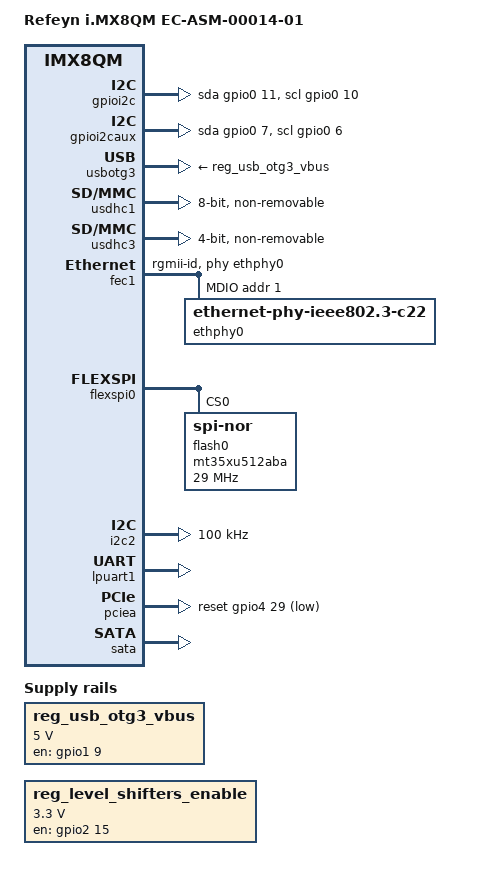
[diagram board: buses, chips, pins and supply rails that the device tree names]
// SPDX-License-Identifier: GPL-2.0+
/*
 * Copyright 2017-2018 NXP
 */

/dts-v1/;

#include "fsl-imx8qm.dtsi"

/ {
	model = "Refeyn i.MX8QM EC-ASM-00014-01";
	compatible = "fsl,imx8qm-ec-asm-00014-01", "fsl,imx8qm";

	chosen {
		bootargs = "console=ttyLP1,115200 earlycon";
		stdout-path = &lpuart1;
	};

	regulators {
		compatible = "simple-bus";
		#address-cells = <1>;
		#size-cells = <0>;

		reg_usb_otg3_vbus: regulator@1 {
			compatible = "regulator-fixed";
			reg = <1>;
			regulator-name = "usb_otg3_vbus";
			regulator-min-microvolt = <5000000>;
			regulator-max-microvolt = <5000000>;
			gpio = <&gpio1 9 GPIO_ACTIVE_HIGH>;
			enable-active-high;
		};

		reg_level_shifters_enable: regulator@2 {
			compatible = "regulator-fixed";
			reg = <2>;
			regulator-name = "reg_level_shifters_enable";
			regulator-min-microvolt = <3300000>;
			regulator-max-microvolt = <3300000>;
			gpio = <&gpio2 15 GPIO_ACTIVE_HIGH>;
			enable-active-high;
			regulator-always-on;
		};
	};

	gpioi2c: i2c-gpio@debug2-3 {
		compatible = "i2c-gpio";
		#address-cells = <1>;
		#size-cells = <0>;
		sda-gpios = <&gpio0 11 (GPIO_ACTIVE_HIGH | GPIO_OPEN_DRAIN)>;
		scl-gpios = <&gpio0 10 (GPIO_ACTIVE_HIGH | GPIO_OPEN_DRAIN)>;
	};

	gpioi2caux: i2c-gpio@aux {
		compatible = "i2c-gpio";
		#address-cells = <1>;
		#size-cells = <0>;
		sda-gpios = <&gpio0 7 (GPIO_ACTIVE_HIGH | GPIO_OPEN_DRAIN)>;
		scl-gpios = <&gpio0 6 (GPIO_ACTIVE_HIGH | GPIO_OPEN_DRAIN)>;
	};
};

&iomuxc {
	pinctrl-names = "default";
	pinctrl-0 = <&pinctrl_hog>;

	imx8qm-ec-asm-00014-01 {
		pinctrl_hog: hoggrp {
			fsl,pins = <
				// LEDs
				SC_P_UART0_RX_LSIO_GPIO0_IO20		0x06000021
				SC_P_UART0_TX_LSIO_GPIO0_IO21		0x06000021

				// Debug switch array (no pull as pull up overwhelms the HW pull down)
				SC_P_SCU_GPIO0_07_LSIO_GPIO1_IO03				0x06000061
				SC_P_LVDS0_GPIO00_LSIO_GPIO1_IO04				0x06000061
				SC_P_LVDS0_GPIO01_LSIO_GPIO1_IO05				0x06000061
				SC_P_LVDS0_I2C0_SCL_LSIO_GPIO1_IO06				0x06000061
				SC_P_LVDS0_I2C0_SDA_LSIO_GPIO1_IO07				0x06000061
				SC_P_LVDS0_I2C1_SCL_LSIO_GPIO1_IO08				0x06000061

				// Debug GPIOs
				SC_P_M40_GPIO0_00_LSIO_GPIO0_IO08				0x06000021
				SC_P_M40_GPIO0_01_LSIO_GPIO0_IO09				0x06000021
				SC_P_M41_GPIO0_00_LSIO_GPIO0_IO12				0x06000021
				SC_P_M41_GPIO0_01_LSIO_GPIO0_IO13				0x06000021

				// Debug I2C
				SC_P_M41_I2C0_SCL_LSIO_GPIO0_IO10				0x02000061
				SC_P_M41_I2C0_SDA_LSIO_GPIO0_IO11				0x02000061

				// Aux I2C
				SC_P_M40_I2C0_SCL_LSIO_GPIO0_IO06				0x02000061
				SC_P_M40_I2C0_SDA_LSIO_GPIO0_IO07				0x02000061

				// SPI CS
				SC_P_SPI0_CS0_LSIO_GPIO3_IO05				0x06000021
			>;
		};

		pinctrl_fec1: fec1grp {
			fsl,pins = <
				SC_P_COMP_CTL_GPIO_1V8_3V3_ENET_ENETB_PAD	0x000014a0 // Use pads in 3.3V mode
				SC_P_ENET0_MDC_CONN_ENET0_MDC			0x06000020
				SC_P_ENET0_MDIO_CONN_ENET0_MDIO			0x06000020
				SC_P_ENET0_RGMII_TX_CTL_CONN_ENET0_RGMII_TX_CTL	0x06000020
				SC_P_ENET0_RGMII_TXC_CONN_ENET0_RGMII_TXC	0x06000020
				SC_P_ENET0_RGMII_TXD0_CONN_ENET0_RGMII_TXD0	0x06000020
				SC_P_ENET0_RGMII_TXD1_CONN_ENET0_RGMII_TXD1	0x06000020
				SC_P_ENET0_RGMII_TXD2_CONN_ENET0_RGMII_TXD2	0x06000020
				SC_P_ENET0_RGMII_TXD3_CONN_ENET0_RGMII_TXD3	0x06000020
				SC_P_ENET0_RGMII_RXC_CONN_ENET0_RGMII_RXC	0x06000020
				SC_P_ENET0_RGMII_RX_CTL_CONN_ENET0_RGMII_RX_CTL	0x06000020
				SC_P_ENET0_RGMII_RXD0_CONN_ENET0_RGMII_RXD0	0x06000020
				SC_P_ENET0_RGMII_RXD1_CONN_ENET0_RGMII_RXD1	0x06000020
				SC_P_ENET0_RGMII_RXD2_CONN_ENET0_RGMII_RXD2	0x06000020
				SC_P_ENET0_RGMII_RXD3_CONN_ENET0_RGMII_RXD3	0x06000020
				SC_P_ENET0_REFCLK_125M_25M_CONN_ENET0_REFCLK_125M_25M	0x06000020 // Not actually used
			>;
		};

		pinctrl_flexspi0: flexspi0grp {
			fsl,pins = <
				SC_P_QSPI0A_DATA0_LSIO_QSPI0A_DATA0	0x06000021
				SC_P_QSPI0A_DATA1_LSIO_QSPI0A_DATA1	0x06000021
				SC_P_QSPI0A_DATA2_LSIO_QSPI0A_DATA2	0x06000021
				SC_P_QSPI0A_DATA3_LSIO_QSPI0A_DATA3	0x06000021
				SC_P_QSPI0A_DQS_LSIO_QSPI0A_DQS		0x06000021
				SC_P_QSPI0A_SS0_B_LSIO_QSPI0A_SS0_B	0x06000021
				SC_P_QSPI0A_SS1_B_LSIO_QSPI0A_SS1_B	0x06000021
				SC_P_QSPI0A_SCLK_LSIO_QSPI0A_SCLK	0x06000021
				SC_P_QSPI0B_SCLK_LSIO_QSPI0B_SCLK	0x06000021
				SC_P_QSPI0B_DATA0_LSIO_QSPI0B_DATA0	0x06000021
				SC_P_QSPI0B_DATA1_LSIO_QSPI0B_DATA1	0x06000021
				SC_P_QSPI0B_DATA2_LSIO_QSPI0B_DATA2	0x06000021
				SC_P_QSPI0B_DATA3_LSIO_QSPI0B_DATA3	0x06000021
				SC_P_QSPI0B_DQS_LSIO_QSPI0B_DQS		0x06000021
				SC_P_QSPI0B_SS0_B_LSIO_QSPI0B_SS0_B	0x06000021
				SC_P_QSPI0B_SS1_B_LSIO_QSPI0B_SS1_B	0x06000021
			>;
		};

		pinctrl_lpuart1: lpuart1grp {
			fsl,pins = <
				SC_P_UART1_RX_DMA_UART1_RX		0x06000020
				SC_P_UART1_TX_DMA_UART1_TX		0x06000020
			>;
		};

		pinctrl_i2c2: i2c2grp {
			fsl,pins = <
				SC_P_GPT1_CLK_DMA_I2C2_SCL						0x04000020
				SC_P_GPT1_CAPTURE_DMA_I2C2_SDA					0x04000020
			>;
		};

		pinctrl_pciea: pcieagrp{
			fsl,pins = <
				SC_P_PCIE_CTRL0_CLKREQ_B_LSIO_GPIO4_IO27	0x06000021
				SC_P_PCIE_CTRL0_WAKE_B_LSIO_GPIO4_IO28		0x04000021
				SC_P_PCIE_CTRL0_PERST_B_LSIO_GPIO4_IO29		0x06000021
				SC_P_USDHC2_RESET_B_LSIO_GPIO4_IO09		0x06000021
			>;
		};

		pinctrl_typec: typecgrp {
			fsl,pins = <
				SC_P_QSPI1A_SS0_B_LSIO_GPIO4_IO19	0x60
				SC_P_USB_SS3_TC3_LSIO_GPIO4_IO06	0x60
				SC_P_QSPI1A_DATA0_LSIO_GPIO4_IO26	0x00000021
			>;
		};

		pinctrl_usbotg1: usbotg1 {
			fsl,pins = <
				SC_P_USB_SS3_TC0_CONN_USB_OTG1_PWR		0x00000021
			>;
		};

		pinctrl_usbotg3: usbotg3 {
			fsl,pins = <
				SC_P_LVDS0_I2C1_SDA_LSIO_GPIO1_IO09		0x00000021
			>;
		};

		pinctrl_usdhc1: usdhc1grp {
			fsl,pins = <
				SC_P_EMMC0_CLK_CONN_EMMC0_CLK		0x06000041
				SC_P_EMMC0_CMD_CONN_EMMC0_CMD		0x00000021
				SC_P_EMMC0_DATA0_CONN_EMMC0_DATA0	0x00000021
				SC_P_EMMC0_DATA1_CONN_EMMC0_DATA1	0x00000021
				SC_P_EMMC0_DATA2_CONN_EMMC0_DATA2	0x00000021
				SC_P_EMMC0_DATA3_CONN_EMMC0_DATA3	0x00000021
				SC_P_EMMC0_DATA4_CONN_EMMC0_DATA4	0x00000021
				SC_P_EMMC0_DATA5_CONN_EMMC0_DATA5	0x00000021
				SC_P_EMMC0_DATA6_CONN_EMMC0_DATA6	0x00000021
				SC_P_EMMC0_DATA7_CONN_EMMC0_DATA7	0x00000021
				SC_P_EMMC0_STROBE_CONN_EMMC0_STROBE	0x00000041
				SC_P_EMMC0_RESET_B_CONN_EMMC0_RESET_B	0x00000021
			>;
		};

		pinctrl_usdhc3: usdhc3grp {
			fsl,pins = <
				SC_P_USDHC2_CLK_CONN_USDHC2_CLK		0x06000041
				SC_P_USDHC2_CMD_CONN_USDHC2_CMD		0x00000021
				SC_P_USDHC2_DATA0_CONN_USDHC2_DATA0	0x00000021
				SC_P_USDHC2_DATA1_CONN_USDHC2_DATA1	0x00000021
				SC_P_USDHC2_DATA2_CONN_USDHC2_DATA2	0x00000021
				SC_P_USDHC2_DATA3_CONN_USDHC2_DATA3	0x00000021
				SC_P_USDHC2_VSELECT_CONN_USDHC2_VSELECT	0x00000021
			>;
		};

		pinctrl_wlreg_on: wlregongrp{
			fsl,pins = <
				SC_P_LVDS1_I2C0_SDA_LSIO_GPIO1_IO13		0x06000000
			>;
		};

		pinctrl_wlreg_on_sleep: wlregon_sleepgrp{
			fsl,pins = <
				SC_P_LVDS1_I2C0_SDA_LSIO_GPIO1_IO13		0x07800000
			>;
		};
	};
};

&gpio0 {
	status = "okay";
};

&gpio1 {
	status = "okay";
};

&gpio2 {
	status = "okay";
};

&gpio4 {
	status = "okay";
};

&gpio5 {
	status = "okay";
};

&usbotg3 {
	status = "okay";
	vbus-supply = <&reg_usb_otg3_vbus>;
};

&usdhc1 {
	pinctrl-names = "default", "state_100mhz", "state_200mhz";
	pinctrl-0 = <&pinctrl_usdhc1>;
	pinctrl-1 = <&pinctrl_usdhc1>;
	pinctrl-2 = <&pinctrl_usdhc1>;
	bus-width = <8>;
	non-removable;
	status = "okay";
};

&usdhc3 {
	pinctrl-names = "default", "state_100mhz", "state_200mhz";
	pinctrl-0 = <&pinctrl_usdhc3>;
	pinctrl-1 = <&pinctrl_usdhc3>;
	pinctrl-2 = <&pinctrl_usdhc3>;
	bus-width = <4>;
	non-removable;
	status = "okay";
};

&fec1 {
	pinctrl-names = "default";
	pinctrl-0 = <&pinctrl_fec1>;
	fsl,magic-packet;
	phy-handle = <&ethphy0>;
	phy-mode = "rgmii-id";
	// phy-reset-duration = <10>;
	// phy-reset-gpios = <&gpio1 11 1>;
	status = "okay";

	mdio {
		#address-cells = <1>;
		#size-cells = <0>;

		ethphy0: ethernet-phy@1 {
			compatible = "ethernet-phy-ieee802.3-c22";
			reg = <1>;
		};
	};
};

&flexspi0 {
	pinctrl-names = "default";
	pinctrl-0 = <&pinctrl_flexspi0>;
	status = "okay";

	flash0: mt35xu512aba@0 {
		reg = <0>;
		#address-cells = <1>;
		#size-cells = <1>;
		compatible = "jedec,spi-nor";
		spi-max-frequency = <29000000>;
		spi-nor,ddr-quad-read-dummy = <8>;
	};
};

&i2c2 { // I2C bus with EEPROM
	#address-cells = <1>;
	#size-cells = <0>;
	clock-frequency = <100000>;
	pinctrl-names = "default";
	pinctrl-0 = <&pinctrl_i2c2>;
	status = "okay";
};

&lpuart1 { /* console */
	pinctrl-names = "default";
	pinctrl-0 = <&pinctrl_lpuart1>;
	status = "okay";
};

&pciea{
	ext_osc = <1>;
	pinctrl-names = "default";
	pinctrl-0 = <&pinctrl_pciea>;
	disable-gpio = <&gpio4 9 GPIO_ACTIVE_LOW>;
	reset-gpio = <&gpio4 29 GPIO_ACTIVE_LOW>;
	clkreq-gpio = <&gpio4 27 GPIO_ACTIVE_LOW>;
	status = "okay";
};

&sata {
	pinctrl-names = "default";
	pinctrl-0 = <&pinctrl_pciea>;
	clkreq-gpio = <&gpio4 27 GPIO_ACTIVE_LOW>;
	status = "okay";
};

&tsens {
	tsens-num = <6>;
};

&thermal_zones {
	pmic-thermal0 {
		polling-delay-passive = <250>;
		polling-delay = <2000>;
		thermal-sensors = <&tsens 5>;
		trips {
			pmic_alert0: trip0 {
				temperature = <110000>;
				hysteresis = <2000>;
				type = "passive";
			};
			pmic_crit0: trip1 {
				temperature = <125000>;
				hysteresis = <2000>;
				type = "critical";
			};
		};
		cooling-maps {
			map0 {
				trip = <&pmic_alert0>;
				cooling-device =
				<&A53_0 THERMAL_NO_LIMIT THERMAL_NO_LIMIT>;
			};
			map1 {
				trip = <&pmic_alert0>;
				cooling-device =
				<&A72_0 THERMAL_NO_LIMIT THERMAL_NO_LIMIT>;
			};
		};
	};
};
